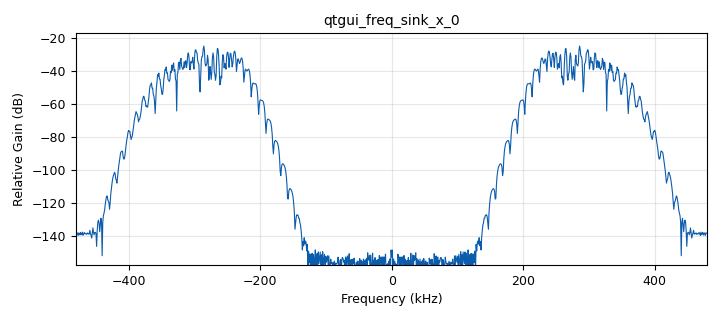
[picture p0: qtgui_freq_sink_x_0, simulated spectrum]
options:
  parameters:
    author: Jatin
    generate_options: qt_gui
    id: fm_modulator
    output_language: python
    title: Not titled yet
  states: {}

blocks:
- name: f_delta
  id: variable
  parameters:
    value: '75000'
  states: {}
- name: fc
  id: variable
  parameters:
    value: '300000'
  states: {}
- name: samp_rate
  id: variable
  parameters:
    value: '960000'
  states: {}
- name: analog_phase_modulator_fc_0
  id: analog_phase_modulator_fc
  parameters:
    sensitivity: 2*3.14159*f_delta
  states: {}
- name: analog_sig_source_x_0
  id: analog_sig_source_x
  parameters:
    amp: '0.5'
    freq: '11000'
    offset: '0'
    phase: '0'
    samp_rate: samp_rate
    type: float
    waveform: analog.GR_COS_WAVE
  states: {}
- name: analog_sig_source_x_1
  id: analog_sig_source_x
  parameters:
    amp: '1'
    freq: fc
    offset: '0'
    phase: '0'
    samp_rate: samp_rate
    type: complex
    waveform: analog.GR_COS_WAVE
  states: {}
- name: analog_sig_source_x_2
  id: analog_sig_source_x
  parameters:
    amp: '0.5'
    freq: '1100'
    offset: '0'
    phase: '0'
    samp_rate: samp_rate
    type: float
    waveform: analog.GR_COS_WAVE
  states: {}
- name: blocks_add_xx_0
  id: blocks_add_xx
  parameters:
    type: float
  states: {}
- name: blocks_complex_to_real_0
  id: blocks_complex_to_real
  parameters: {}
  states: {}
- name: blocks_multiply_xx_0
  id: blocks_multiply_xx
  parameters:
    type: complex
  states: {}
- name: iir_filter_xxx_0
  id: iir_filter_xxx
  parameters:
    fbtaps: '[1, 1]'
    fftaps: '[1/samp_rate]'
    type: ffd
  states: {}
- name: qtgui_freq_sink_x_0
  id: qtgui_freq_sink_x
  parameters:
    autoscale: 'True'
    bw: samp_rate
    fc: '0'
    fftsize: '1024'
    type: float
  states: {}

connections:
- [analog_phase_modulator_fc_0, '0', blocks_multiply_xx_0, '0']
- [analog_sig_source_x_0, '0', blocks_add_xx_0, '0']
- [analog_sig_source_x_1, '0', blocks_multiply_xx_0, '1']
- [analog_sig_source_x_2, '0', blocks_add_xx_0, '1']
- [blocks_add_xx_0, '0', iir_filter_xxx_0, '0']
- [blocks_complex_to_real_0, '0', qtgui_freq_sink_x_0, '0']
- [blocks_multiply_xx_0, '0', blocks_complex_to_real_0, '0']
- [iir_filter_xxx_0, '0', analog_phase_modulator_fc_0, '0']

metadata:
  file_format: 1
  grc_version: 3.10.9.2
